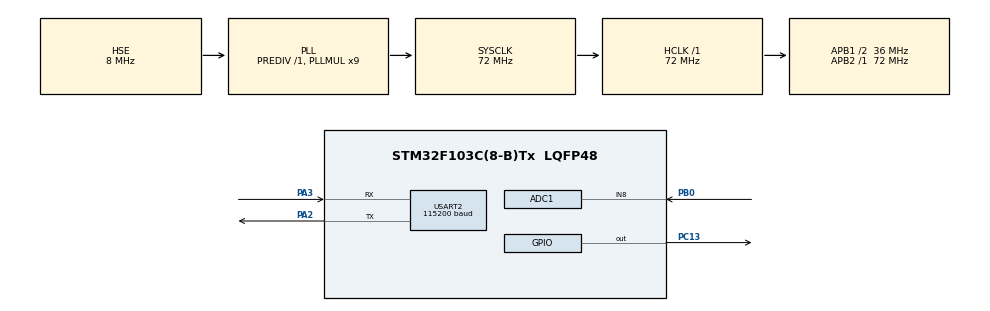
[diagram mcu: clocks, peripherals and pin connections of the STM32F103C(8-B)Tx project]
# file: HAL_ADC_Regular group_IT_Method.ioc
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ADC1.Channel-16\#ChannelRegularConversion=ADC_CHANNEL_8
ADC1.ContinuousConvMode=DISABLE
ADC1.NbrOfConversionFlag=1
ADC1.Rank-16\#ChannelRegularConversion=1
ADC1.SamplingTime-16\#ChannelRegularConversion=ADC_SAMPLETIME_1CYCLE_5
ADC1.master=1
Dma.Request0=USART2_TX
Dma.USART2_TX.0.Direction=DMA_MEMORY_TO_PERIPH
Dma.USART2_TX.0.Instance=DMA1_Channel7
Dma.USART2_TX.0.MemDataAlignment=DMA_MDATAALIGN_BYTE
Dma.USART2_TX.0.MemInc=DMA_MINC_ENABLE
Dma.USART2_TX.0.Mode=DMA_NORMAL
Dma.USART2_TX.0.PeriphDataAlignment=DMA_PDATAALIGN_BYTE
Dma.USART2_TX.0.PeriphInc=DMA_PINC_DISABLE
Dma.USART2_TX.0.Priority=DMA_PRIORITY_LOW
Mcu.Family=STM32F1
Mcu.Name=STM32F103C(8-B)Tx
Mcu.Package=LQFP48
NVIC.ADC1_2_IRQn=true\:0\:0\:false\:false\:true\:true\:true
NVIC.DMA1_Channel7_IRQn=true\:0\:0\:false\:false\:true\:false\:true
NVIC.PriorityGroup=NVIC_PRIORITYGROUP_4
NVIC.USART2_IRQn=true\:0\:0\:false\:false\:true\:true\:true
PA13.Mode=Serial_Wire
PA13.Signal=SYS_JTMS-SWDIO
PA14.Mode=Serial_Wire
PA14.Signal=SYS_JTCK-SWCLK
PA2.Mode=Asynchronous
PA2.Signal=USART2_TX
PA3.Mode=Asynchronous
PA3.Signal=USART2_RX
PB0.Signal=ADCx_IN8
PC13-TAMPER-RTC.Signal=GPIO_Output
PD0-OSC_IN.Mode=HSE-External-Oscillator
PD0-OSC_IN.Signal=RCC_OSC_IN
PD1-OSC_OUT.Mode=HSE-External-Oscillator
PD1-OSC_OUT.Signal=RCC_OSC_OUT
ProjectManager.HeapSize=0x200
ProjectManager.StackSize=0x400
ProjectManager.TargetToolchain=MDK-ARM V5.27
RCC.ADCPresc=RCC_ADCPCLK2_DIV6
RCC.AHBFreq_Value=72000000
RCC.APB1CLKDivider=RCC_HCLK_DIV2
RCC.APB1Freq_Value=36000000
RCC.APB1TimFreq_Value=72000000
RCC.APB2Freq_Value=72000000
RCC.APB2TimFreq_Value=72000000
RCC.HCLKFreq_Value=72000000
RCC.PLLMUL=RCC_PLL_MUL9
RCC.PLLSourceVirtual=RCC_PLLSOURCE_HSE
RCC.SYSCLKFreq_VALUE=72000000
RCC.SYSCLKSource=RCC_SYSCLKSOURCE_PLLCLK
RCC.USBFreq_Value=72000000
SH.ADCx_IN8.0=ADC1_IN8,IN8
USART2.BaudRate=115200
USART2.Parity=PARITY_NONE
USART2.VirtualMode=VM_ASYNC
USART2.WordLength=WORDLENGTH_8B
board=custom

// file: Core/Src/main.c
/* USER CODE BEGIN Header */
/**
  ******************************************************************************
  * @file           : main.c
  * @brief          : Main program body
  ******************************************************************************
  * @attention
  *
  * <h2><center>&copy; Copyright (c) 2021 STMicroelectronics.
  * All rights reserved.</center></h2>
  *
  * This software component is licensed by ST under BSD 3-Clause license,
  * the "License"; You may not use this file except in compliance with the
  * License. You may obtain a copy of the License at:
  *                        opensource.org/licenses/BSD-3-Clause
  *
  ******************************************************************************
  */
/* USER CODE END Header */
#include "main.h"

/* USER CODE BEGIN Includes */
#include "stdio.h"
/* USER CODE END Includes */

ADC_HandleTypeDef hadc1;

UART_HandleTypeDef huart2;
DMA_HandleTypeDef hdma_usart2_tx;

/* USER CODE BEGIN PV */
uint16_t ADC_data = 0;
char str[16] = "";
/* USER CODE END PV */

void SystemClock_Config(void);
static void MX_GPIO_Init(void);
static void MX_DMA_Init(void);
static void MX_USART2_UART_Init(void);
static void MX_ADC1_Init(void);
/* USER CODE BEGIN PFP */

void HAL_ADC_ConvCpltCallback(ADC_HandleTypeDef* hadc){
	ADC_data = HAL_ADC_GetValue(hadc);			//Get value of ADC
	HAL_ADC_Start_IT(hadc);								//Need again call function start with interrupt
}

void HAL_UART_TxCpltCallback(UART_HandleTypeDef *huart){
	ADC_data = (uint16_t)(ADC_data * 3300 / 4096); 				//Get data from ADC channel and specific it
	sprintf(str, "\nValue ADC: %04d", ADC_data);  				//Catenate string with value of ADC channel
	HAL_UART_Transmit_DMA(huart, (uint8_t*)str, 16);			//Call again function DMA
}
/* USER CODE END PFP */

int main(void)
{

  /* MCU Configuration--------------------------------------------------------*/

  /* Reset of all peripherals, Initializes the Flash interface and the Systick. */
  HAL_Init();

  /* Configure the system clock */
  SystemClock_Config();

  /* Initialize all configured peripherals */
  MX_GPIO_Init();
  MX_DMA_Init();
  MX_USART2_UART_Init();
  MX_ADC1_Init();
  /* USER CODE BEGIN 2 */
	HAL_ADC_Start_IT(&hadc1);		// Call interrupt function HAL_ADC_ConvCpltCallback()
	ADC_data = (uint16_t)(ADC_data * 3300 / 4096);
	sprintf(str, "\nValue ADC: %04d", ADC_data);
	HAL_UART_Transmit_DMA(&huart2, (uint8_t*)str, 16);		//Use DMA_USART	for transmit data
																												//You can use USART_IT for transmit data ---> Function(no blocking) HAL_UART_TxCpltCallback() is called
  /* USER CODE END 2 */

  /* Infinite loop */
  /* USER CODE BEGIN WHILE */
  while (1)
  {
		HAL_GPIO_TogglePin(GPIOC, GPIO_PIN_13);
		HAL_Delay(200);

    /* USER CODE END WHILE */

  }
}

void SystemClock_Config(void)
{
  RCC_OscInitTypeDef RCC_OscInitStruct = {0};
  RCC_ClkInitTypeDef RCC_ClkInitStruct = {0};
  RCC_PeriphCLKInitTypeDef PeriphClkInit = {0};

  /** Initializes the RCC Oscillators according to the specified parameters
  * in the RCC_OscInitTypeDef structure.
  */
  RCC_OscInitStruct.OscillatorType = RCC_OSCILLATORTYPE_HSE;
  RCC_OscInitStruct.HSEState = RCC_HSE_ON;
  RCC_OscInitStruct.HSEPredivValue = RCC_HSE_PREDIV_DIV1;
  RCC_OscInitStruct.HSIState = RCC_HSI_ON;
  RCC_OscInitStruct.PLL.PLLState = RCC_PLL_ON;
  RCC_OscInitStruct.PLL.PLLSource = RCC_PLLSOURCE_HSE;
  RCC_OscInitStruct.PLL.PLLMUL = RCC_PLL_MUL9;
  if (HAL_RCC_OscConfig(&RCC_OscInitStruct) != HAL_OK)
  {
    Error_Handler();
  }
  /** Initializes the CPU, AHB and APB buses clocks
  */
  RCC_ClkInitStruct.ClockType = RCC_CLOCKTYPE_HCLK|RCC_CLOCKTYPE_SYSCLK
                              |RCC_CLOCKTYPE_PCLK1|RCC_CLOCKTYPE_PCLK2;
  RCC_ClkInitStruct.SYSCLKSource = RCC_SYSCLKSOURCE_PLLCLK;
  RCC_ClkInitStruct.AHBCLKDivider = RCC_SYSCLK_DIV1;
  RCC_ClkInitStruct.APB1CLKDivider = RCC_HCLK_DIV2;
  RCC_ClkInitStruct.APB2CLKDivider = RCC_HCLK_DIV1;

  if (HAL_RCC_ClockConfig(&RCC_ClkInitStruct, FLASH_LATENCY_2) != HAL_OK)
  {
    Error_Handler();
  }
  PeriphClkInit.PeriphClockSelection = RCC_PERIPHCLK_ADC;
  PeriphClkInit.AdcClockSelection = RCC_ADCPCLK2_DIV6;
  if (HAL_RCCEx_PeriphCLKConfig(&PeriphClkInit) != HAL_OK)
  {
    Error_Handler();
  }
}

static void MX_ADC1_Init(void)
{

  ADC_ChannelConfTypeDef sConfig = {0};

  /** Common config
  */
  hadc1.Instance = ADC1;
  hadc1.Init.ScanConvMode = ADC_SCAN_DISABLE;
  hadc1.Init.ContinuousConvMode = DISABLE;
  hadc1.Init.DiscontinuousConvMode = DISABLE;
  hadc1.Init.ExternalTrigConv = ADC_SOFTWARE_START;
  hadc1.Init.DataAlign = ADC_DATAALIGN_RIGHT;
  hadc1.Init.NbrOfConversion = 1;
  if (HAL_ADC_Init(&hadc1) != HAL_OK)
  {
    Error_Handler();
  }
  /** Configure Regular Channel
  */
  sConfig.Channel = ADC_CHANNEL_8;
  sConfig.Rank = ADC_REGULAR_RANK_1;
  sConfig.SamplingTime = ADC_SAMPLETIME_1CYCLE_5;
  if (HAL_ADC_ConfigChannel(&hadc1, &sConfig) != HAL_OK)
  {
    Error_Handler();
  }

}

static void MX_USART2_UART_Init(void)
{

  huart2.Instance = USART2;
  huart2.Init.BaudRate = 115200;
  huart2.Init.WordLength = UART_WORDLENGTH_8B;
  huart2.Init.StopBits = UART_STOPBITS_1;
  huart2.Init.Parity = UART_PARITY_NONE;
  huart2.Init.Mode = UART_MODE_TX_RX;
  huart2.Init.HwFlowCtl = UART_HWCONTROL_NONE;
  huart2.Init.OverSampling = UART_OVERSAMPLING_16;
  if (HAL_UART_Init(&huart2) != HAL_OK)
  {
    Error_Handler();
  }

}

static void MX_DMA_Init(void)
{

  /* DMA controller clock enable */
  __HAL_RCC_DMA1_CLK_ENABLE();

  /* DMA interrupt init */
  /* DMA1_Channel7_IRQn interrupt configuration */
  HAL_NVIC_SetPriority(DMA1_Channel7_IRQn, 0, 0);
  HAL_NVIC_EnableIRQ(DMA1_Channel7_IRQn);

}

static void MX_GPIO_Init(void)
{
  GPIO_InitTypeDef GPIO_InitStruct = {0};

  /* GPIO Ports Clock Enable */
  __HAL_RCC_GPIOC_CLK_ENABLE();
  __HAL_RCC_GPIOD_CLK_ENABLE();
  __HAL_RCC_GPIOA_CLK_ENABLE();
  __HAL_RCC_GPIOB_CLK_ENABLE();

  /*Configure GPIO pin Output Level */
  HAL_GPIO_WritePin(GPIOC, GPIO_PIN_13, GPIO_PIN_RESET);

  /*Configure GPIO pin : PC13 */
  GPIO_InitStruct.Pin = GPIO_PIN_13;
  GPIO_InitStruct.Mode = GPIO_MODE_OUTPUT_PP;
  GPIO_InitStruct.Pull = GPIO_NOPULL;
  GPIO_InitStruct.Speed = GPIO_SPEED_FREQ_LOW;
  HAL_GPIO_Init(GPIOC, &GPIO_InitStruct);

}

void Error_Handler(void)
{
  __disable_irq();
  while (1)
  {
  }
}

/************************ (C) COPYRIGHT STMicroelectronics *****END OF FILE****/
